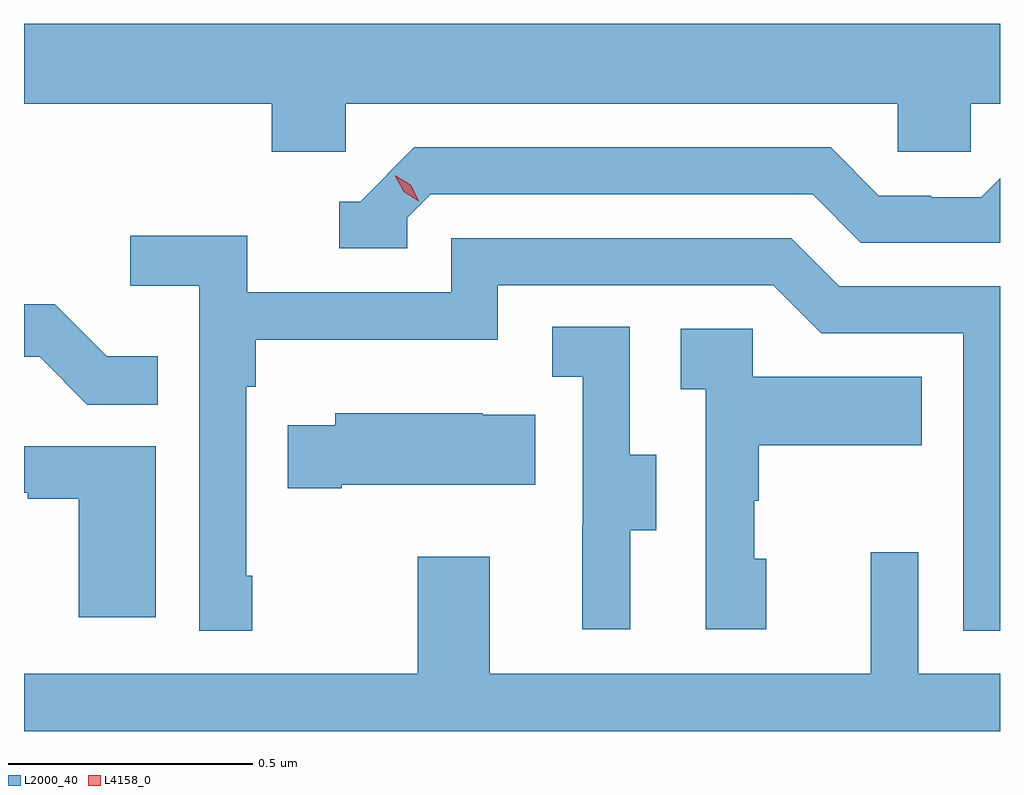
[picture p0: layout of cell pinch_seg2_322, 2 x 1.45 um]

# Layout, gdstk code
import gdstk
lib = gdstk.Library(unit=1e-6, precision=1e-09)
def P(c, l, *ps):  # polygons
    for p in ps: c.add(gdstk.Polygon(p, *l))
L2000_40 = (2000, 40)
L4158_0 = (4158, 0)

pinch_seg2_322 = lib.new_cell('pinch_seg2_322')
P(pinch_seg2_322, L2000_40, [(889.842,642.308),(890.973,642.308),(890.973,642.21),(891.123,642.21),(891.123,642.308),(891.183,642.308),(891.183,642.472),(889.183,642.472),(889.183,642.308),(889.691,642.308),(889.691,642.21),(889.842,642.21)],
  [(889.968,642.075),(890.016,642.123),(890.799,642.123),(890.898,642.024),(891.183,642.024),(891.183,642.156),(891.145,642.117),(891.042,642.117),(891.042,642.12),(890.935,642.12),(890.836,642.219),(889.983,642.219),(889.872,642.108),(889.829,642.108),(889.829,642.012),(889.968,642.012)],
  [(889.651,641.341),(889.638,641.341),(889.638,641.729),(889.658,641.729),(889.658,641.825),(890.154,641.825),(890.154,641.937),(890.718,641.937),(890.817,641.838),(891.108,641.838),(891.108,641.229),(891.183,641.229),(891.183,641.934),(890.854,641.934),(890.755,642.033),(890.058,642.033),(890.058,641.922),(889.64,641.922),(889.64,642.038),(889.401,642.038),(889.401,641.936),(889.542,641.936),(889.542,641.229),(889.651,641.229)],
  [(889.457,641.791),(889.353,641.791),(889.246,641.898),(889.183,641.898),(889.183,641.79),(889.215,641.79),(889.313,641.692),(889.457,641.692)],
  [(890.425,641.434),(890.479,641.434),(890.479,641.589),(890.424,641.589),(890.424,641.852),(890.265,641.852),(890.265,641.749),(890.328,641.749),(890.328,641.445),(890.327,641.445),(890.327,641.232),(890.425,641.232)],
  [(890.704,641.376),(890.679,641.376),(890.679,641.495),(890.689,641.495),(890.689,641.609),(891.023,641.609),(891.023,641.749),(890.676,641.749),(890.676,641.847),(890.529,641.847),(890.529,641.723),(890.58,641.723),(890.58,641.232),(890.704,641.232)],
  [(889.834,641.528),(890.231,641.528),(890.231,641.671),(890.123,641.671),(890.123,641.674),(889.821,641.674),(889.821,641.65),(889.723,641.65),(889.723,641.521),(889.834,641.521)],
  [(889.453,641.607),(889.183,641.607),(889.183,641.511),(889.191,641.511),(889.191,641.499),(889.295,641.499),(889.295,641.256),(889.453,641.256)],
  [(891.183,641.14),(891.015,641.14),(891.015,641.389),(890.918,641.389),(890.918,641.14),(890.137,641.14),(890.137,641.38),(889.99,641.38),(889.99,641.14),(889.183,641.14),(889.183,641.023),(891.183,641.023)])
P(pinch_seg2_322, L4158_0, [(889.992,642.109),(889.961,642.128),(889.944,642.16),(889.944,642.161),(889.945,642.161),(889.976,642.142),(889.992,642.11),(889.992,642.109)])

lib.write_gds('pinch_seg2_322.gds')
